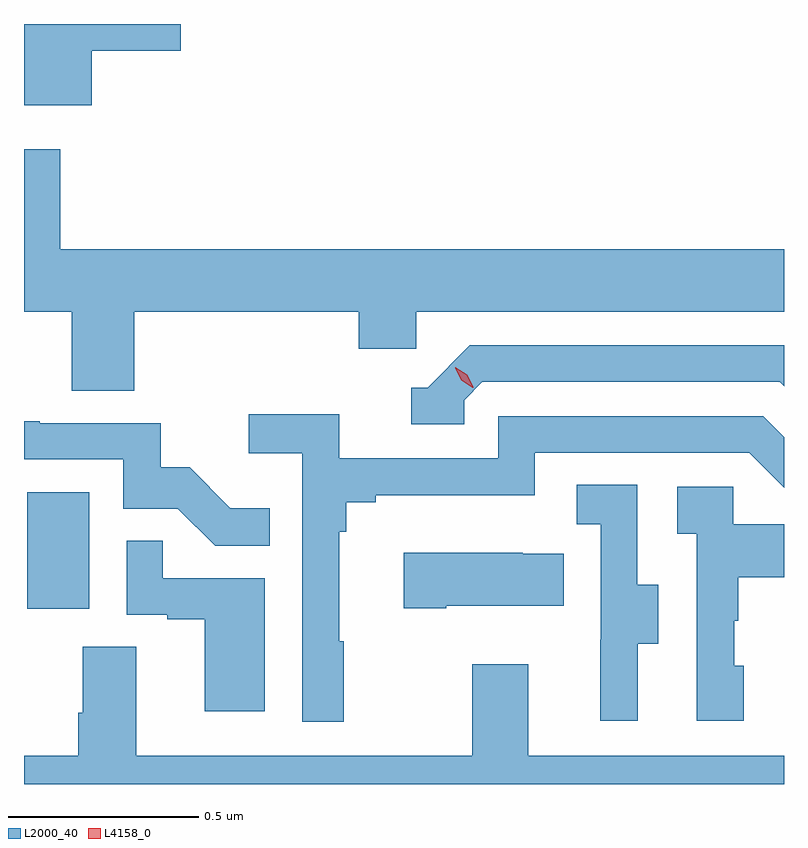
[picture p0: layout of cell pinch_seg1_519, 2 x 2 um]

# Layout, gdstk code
import gdstk
lib = gdstk.Library(unit=1e-6, precision=1e-09)
def R(c, l, rs):  # rectangles x0, y0, x1, y1
    for r in rs: c.add(gdstk.rectangle(r[:2], r[2:], *l))
def P(c, l, *ps):  # polygons
    for p in ps: c.add(gdstk.Polygon(p, *l))
L2000_40 = (2000, 40)
L4158_0 = (4158, 0)

pinch_seg1_519 = lib.new_cell('pinch_seg1_519')
R(pinch_seg1_519, L2000_40, [(1129.466,529.638,1129.63,529.945)])
P(pinch_seg1_519, L2000_40, [(1129.636,531.107),(1129.87,531.107),(1129.87,531.177),(1129.458,531.177),(1129.458,530.963),(1129.636,530.963)],
  [(1129.748,530.42),(1130.339,530.42),(1130.339,530.322),(1130.49,530.322),(1130.49,530.42),(1131.458,530.42),(1131.458,530.584),(1129.553,530.584),(1129.553,530.848),(1129.458,530.848),(1129.458,530.42),(1129.583,530.42),(1129.583,530.212),(1129.748,530.212)],
  [(1130.616,530.187),(1130.664,530.235),(1131.447,530.235),(1131.458,530.224),(1131.458,530.331),(1130.631,530.331),(1130.52,530.22),(1130.477,530.22),(1130.477,530.124),(1130.616,530.124)],
  [(1130.299,529.553),(1130.287,529.553),(1130.287,529.841),(1130.306,529.841),(1130.306,529.918),(1130.383,529.918),(1130.383,529.937),(1130.802,529.937),(1130.802,530.049),(1131.366,530.049),(1131.458,529.957),(1131.458,530.09),(1131.403,530.145),(1130.706,530.145),(1130.706,530.034),(1130.288,530.034),(1130.288,530.15),(1130.049,530.15),(1130.049,530.048),(1130.19,530.048),(1130.19,529.341),(1130.299,529.341)],
  [(1130.105,529.903),(1130.001,529.903),(1129.894,530.01),(1129.818,530.01),(1129.818,530.127),(1129.499,530.127),(1129.499,530.132),(1129.458,530.132),(1129.458,530.031),(1129.719,530.031),(1129.719,529.902),(1129.863,529.902),(1129.961,529.804),(1130.105,529.804)],
  [(1131.073,529.546),(1131.127,529.546),(1131.127,529.701),(1131.072,529.701),(1131.072,529.964),(1130.913,529.964),(1130.913,529.861),(1130.976,529.861),(1130.976,529.557),(1130.975,529.557),(1130.975,529.344),(1131.073,529.344)],
  [(1131.352,529.488),(1131.327,529.488),(1131.327,529.607),(1131.337,529.607),(1131.337,529.721),(1131.458,529.721),(1131.458,529.861),(1131.324,529.861),(1131.324,529.959),(1131.177,529.959),(1131.177,529.835),(1131.228,529.835),(1131.228,529.344),(1131.352,529.344)],
  [(1130.092,529.719),(1129.823,529.719),(1129.823,529.817),(1129.728,529.817),(1129.728,529.623),(1129.835,529.623),(1129.835,529.611),(1129.934,529.611),(1129.934,529.368),(1130.092,529.368)],
  [(1130.569,529.646),(1130.879,529.646),(1130.879,529.783),(1130.771,529.783),(1130.771,529.786),(1130.457,529.786),(1130.457,529.639),(1130.569,529.639)],
  [(1131.458,529.252),(1130.785,529.252),(1130.785,529.492),(1130.638,529.492),(1130.638,529.252),(1129.753,529.252),(1129.753,529.538),(1129.613,529.538),(1129.613,529.364),(1129.601,529.364),(1129.601,529.252),(1129.458,529.252),(1129.458,529.177),(1131.458,529.177)])
P(pinch_seg1_519, L4158_0, [(1130.639,530.22),(1130.609,530.24),(1130.593,530.273),(1130.593,530.274),(1130.593,530.274),(1130.624,530.254),(1130.64,530.221),(1130.64,530.22)])

lib.write_gds('pinch_seg1_519.gds')
